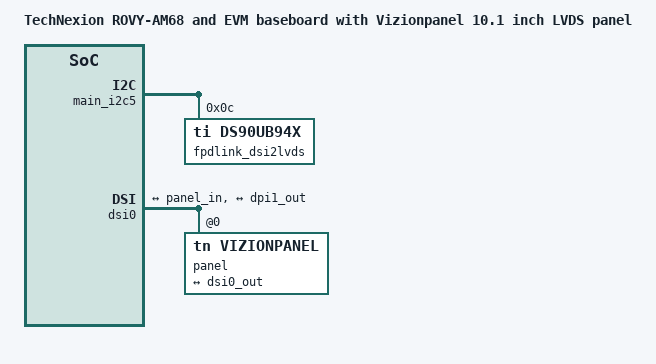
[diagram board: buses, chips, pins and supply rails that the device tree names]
// SPDX-License-Identifier: GPL-2.0
/*
 * Copyright 2022 Technexion Ltd.
 *
 * Author: Richard Hu <richard.hu@technexion.com>
 *
 */

/dts-v1/;
/plugin/;

#include <dt-bindings/gpio/gpio.h>
#include <dt-bindings/interrupt-controller/irq.h>
#include <dt-bindings/pinctrl/k3.h>

/ {
	fragment@101 {
		target-path = "/";

		__overlay__ {
			model = "TechNexion ROVY-AM68 and EVM baseboard with Vizionpanel 10.1 inch LVDS panel";

		};
	};
};

&main_i2c5 {
	#address-cells = <1>;
	#size-cells = <0>;
	status = "okay";

	fpdlink_dsi2lvds: ds90ub948@0c {
		compatible = "ti,ds90ub94x";
		reg = <0x0c>;
		status = "okay";
	};
};

&dss_ports {
	#address-cells = <1>;
	#size-cells = <0>;

	port@2 {
		reg = <2>;

		dpi1_out: endpoint {
			remote-endpoint = <&dsi0_in>;
		};
	};
};

&dsi0 {
	ports {
		#address-cells = <1>;
		#size-cells = <0>;

		port@0 {
			reg = <0>;
			dsi0_out: endpoint {
				remote-endpoint = <&panel_in>;
			};
		};

		port@1 {
			reg = <1>;
			dsi0_in: endpoint {
				remote-endpoint = <&dpi1_out>;
			};
		};
	};

	panel@0 {
		compatible = "tn,vizionpanel";
		reg = <0>;
		status = "okay";

		port {
			panel_in: endpoint {
				remote-endpoint = <&dsi0_out>;
			};
		};
	};
};

&dphy2 {
	assigned-clocks = <&k3_clks 296 3>;
	assigned-clock-parents = <&k3_clks 296 4>;
	assigned-clock-rates = <19200000>;
};
